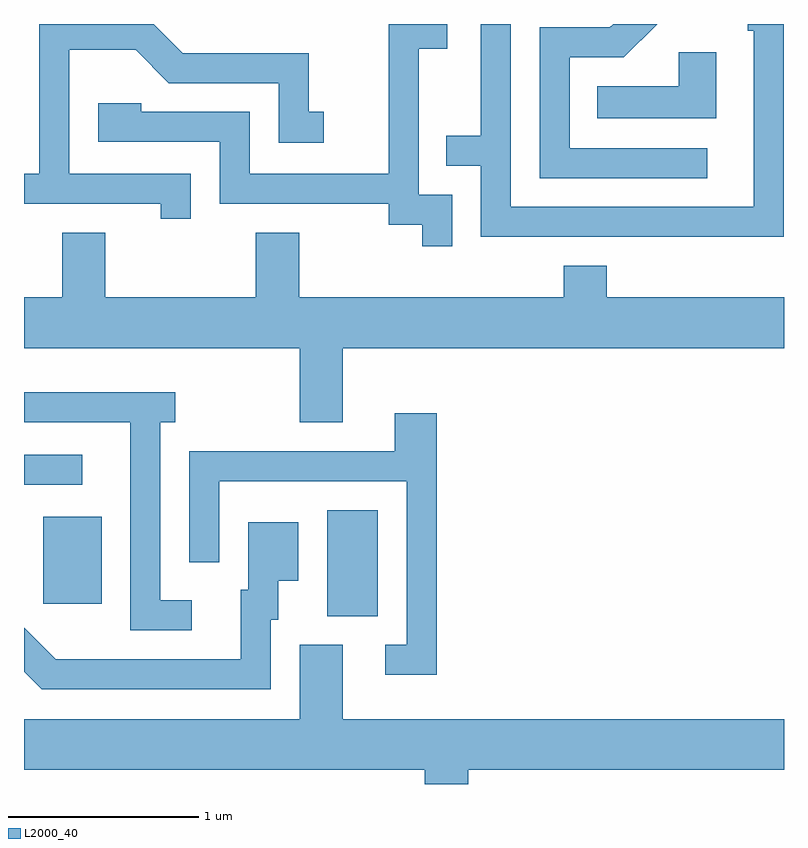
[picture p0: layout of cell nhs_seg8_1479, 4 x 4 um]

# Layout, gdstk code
import gdstk
lib = gdstk.Library(unit=1e-6, precision=1e-09)
def R(c, l, rs):  # rectangles x0, y0, x1, y1
    for r in rs: c.add(gdstk.rectangle(r[:2], r[2:], *l))
def P(c, l, *ps):  # polygons
    for p in ps: c.add(gdstk.Polygon(p, *l))
L2000_40 = (2000, 40)

nhs_seg8_1479 = lib.new_cell('nhs_seg8_1479')
R(nhs_seg8_1479, L2000_40, [(231.206,1837.226,231.474,1837.784), (229.711,1837.291,230.019,1837.749), (229.611,1837.916,229.918,1838.074)])
P(nhs_seg8_1479, L2000_40, [(233.208,1839.689),(232.484,1839.689),(232.484,1840.166),(232.767,1840.166),(232.943,1840.342),(232.712,1840.342),(232.694,1840.324),(232.326,1840.324),(232.326,1839.531),(233.208,1839.531)],
  [(233.609,1840.342),(233.421,1840.342),(233.421,1840.306),(233.451,1840.306),(233.451,1839.379),(232.174,1839.379),(232.174,1840.342),(232.016,1840.342),(232.016,1839.754),(231.833,1839.754),(231.833,1839.596),(232.016,1839.596),(232.016,1839.221),(233.609,1839.221)],
  [(231.864,1839.444),(231.689,1839.444),(231.689,1840.211),(231.839,1840.211),(231.839,1840.342),(231.531,1840.342),(231.531,1839.554),(230.799,1839.554),(230.799,1839.879),(230.229,1839.879),(230.229,1839.924),(230.001,1839.924),(230.001,1839.721),(230.641,1839.721),(230.641,1839.396),(231.531,1839.396),(231.531,1839.286),(231.706,1839.286),(231.706,1839.173),(231.864,1839.173)],
  [(230.489,1839.554),(229.849,1839.554),(229.849,1840.206),(230.199,1840.206),(230.374,1840.031),(230.951,1840.031),(230.951,1839.716),(231.188,1839.716),(231.188,1839.879),(231.109,1839.879),(231.109,1840.189),(230.447,1840.189),(230.294,1840.342),(229.691,1840.342),(229.691,1839.554),(229.611,1839.554),(229.611,1839.396),(230.331,1839.396),(230.331,1839.318),(230.489,1839.318)],
  [(231.379,1840.342),(230.563,1840.342),(230.564,1840.341),(231.379,1840.341)],
  [(233.254,1840.194),(233.056,1840.194),(233.056,1840.014),(232.628,1840.014),(232.628,1839.846),(233.254,1839.846)],
  [(231.289,1838.636),(233.611,1838.636),(233.611,1838.904),(232.679,1838.904),(232.679,1839.069),(232.451,1839.069),(232.451,1838.904),(231.059,1838.904),(231.059,1839.244),(230.831,1839.244),(230.831,1838.904),(230.039,1838.904),(230.039,1839.244),(229.811,1839.244),(229.811,1838.904),(229.611,1838.904),(229.611,1838.636),(231.061,1838.636),(231.061,1838.246),(231.289,1838.246)],
  [(230.493,1837.309),(230.329,1837.309),(230.329,1838.246),(230.408,1838.246),(230.408,1838.404),(229.611,1838.404),(229.611,1838.246),(230.171,1838.246),(230.171,1837.151),(230.493,1837.151)],
  [(231.784,1838.294),(231.561,1838.294),(231.561,1838.094),(230.481,1838.094),(230.481,1837.508),(230.639,1837.508),(230.639,1837.936),(231.626,1837.936),(231.626,1837.074),(231.513,1837.074),(231.513,1836.916),(231.784,1836.916)],
  [(230.909,1837.206),(230.949,1837.206),(230.949,1837.411),(231.054,1837.411),(231.054,1837.719),(230.791,1837.719),(230.791,1837.364),(230.751,1837.364),(230.751,1836.999),(229.777,1836.999),(229.611,1837.165),(229.611,1836.934),(229.704,1836.841),(230.909,1836.841)],
  [(231.949,1836.416),(233.611,1836.416),(233.611,1836.684),(231.289,1836.684),(231.289,1837.074),(231.061,1837.074),(231.061,1836.684),(229.611,1836.684),(229.611,1836.416),(231.721,1836.416),(231.721,1836.342),(231.949,1836.342)])

lib.write_gds('nhs_seg8_1479.gds')
